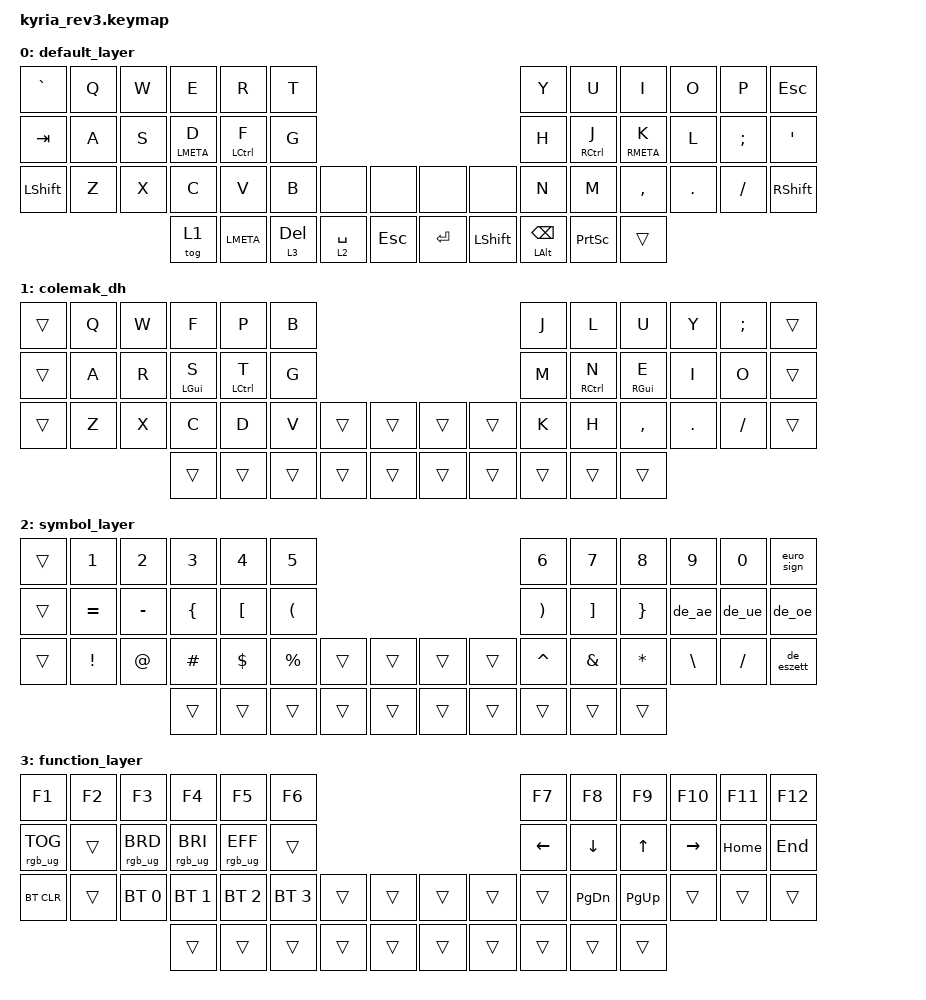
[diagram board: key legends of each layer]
/*
 * Copyright (c) 2023 The ZMK Contributors
 *
 * SPDX-License-Identifier: MIT
 */

#include <behaviors.dtsi>
#include <dt-bindings/zmk/bt.h>
#include <dt-bindings/zmk/keys.h>
#include <dt-bindings/zmk/rgb.h>

#define HOST_OS 1
#include "zmk-helpers/helper.h"
// Source unicode-chars for desired languages
#include "zmk-helpers/german.dtsi"

#define DEF 0
#define SYM 1
#define FUN 2
#define MED 3

/* Uncomment this block if using RGB
&led_strip {
    chain-length = <6>;
    // chain-length = <31>; // Uncomment if using both per-key and underglow LEDs
    // chain-length = <25>; // Uncomment if using only per-key LEDs.
};
 */

/ {
    behaviors {
        bhm: balanced_homerow_mods {
            compatible = "zmk,behavior-hold-tap";
            #binding-cells = <2>;
            tapping-term-ms = <250>;    // <---[[moderate duration]]
            quick-tap-ms = <0>;
            flavor = "balanced";
            bindings = <&kp>, <&kp>;
        };
    };

    keymap {
        compatible = "zmk,keymap";

        default_layer {
            bindings = <
&kp GRAVE  &kp Q  &kp W  &kp E         &kp R         &kp T                                                          &kp Y                   &kp U            &kp I         &kp O    &kp P     &kp ESC
&kp TAB    &kp A  &kp S  &bhm LMETA D  &bhm LCTRL F  &kp G                                                          &kp H                   &bhm RCTRL J     &bhm RMETA K  &kp L    &kp SEMI  &kp SQT
&kp LSHFT  &kp Z  &kp X  &kp C         &kp V         &kp B         &none        &none    &none      &none           &kp N                   &kp M            &kp COMMA     &kp DOT  &kp FSLH  &kp RSHIFT
                         &tog 1        &kp LMETA     &lt 3 DELETE  &lt 2 SPACE  &kp ESC  &kp ENTER  &kp LEFT_SHIFT  &mt LEFT_ALT BACKSPACE  &kp PRINTSCREEN  &trans
            >;
        };

        colemak_dh {
            bindings = <
&trans  &kp Q  &kp W  &kp F        &kp P         &kp B                                   &kp J   &kp L         &kp U        &kp Y    &kp SEMI   &trans
&trans  &kp A  &kp R  &bhm LGUI S  &bhm LCTRL T  &kp G                                   &kp M   &bhm RCTRL N  &bhm RGUI E  &kp I    &kp O      &trans
&trans  &kp Z  &kp X  &kp C        &kp D         &kp V   &trans  &trans  &trans  &trans  &kp K   &kp H         &kp COMMA    &kp DOT  &kp SLASH  &trans
                      &trans       &trans        &trans  &trans  &trans  &trans  &trans  &trans  &trans        &trans
            >;
        };

        symbol_layer {
            bindings = <
&trans  &kp NUMBER_1  &kp NUMBER_2  &kp NUMBER_3  &kp NUMBER_4  &kp N5                                                &kp NUMBER_6           &kp N7    &kp N8    &kp N9         &kp N0    &euro_sign
&trans  &kp EQUAL     &kp MINUS     &kp LBRC      &kp LBKT      &kp LEFT_PARENTHESIS                                  &kp RIGHT_PARENTHESIS  &kp RBKT  &kp RBRC  &de_ae         &de_ue    &de_oe 
&trans  &kp EXCL      &kp AT        &kp HASH      &kp DLLR      &kp PRCNT             &trans  &trans  &trans  &trans  &kp CARET              &kp AMPS  &kp STAR  &kp BACKSLASH  &kp FSLH  &de_eszett
                                    &trans        &trans        &trans                &trans  &trans  &trans  &trans  &trans                 &trans    &trans
            >;
        };

        function_layer {
            bindings = <
&kp F1           &kp F2  &kp F3           &kp F4           &kp F5           &kp F6                                        &kp F7    &kp F8         &kp F9       &kp F10    &kp F11   &kp F12
&rgb_ug RGB_TOG  &trans  &rgb_ug RGB_BRD  &rgb_ug RGB_BRI  &rgb_ug RGB_EFF  &trans                                        &kp LEFT  &kp DOWN       &kp UP       &kp RIGHT  &kp HOME  &kp END
&bt BT_CLR       &trans  &bt BT_SEL 0     &bt BT_SEL 1     &bt BT_SEL 2     &bt BT_SEL 3  &trans  &trans  &trans  &trans  &trans    &kp PAGE_DOWN  &kp PAGE_UP  &trans     &trans    &trans
                                          &trans           &trans           &trans        &trans  &trans  &trans  &trans  &trans    &trans         &trans
            >;
        };
    };
};
